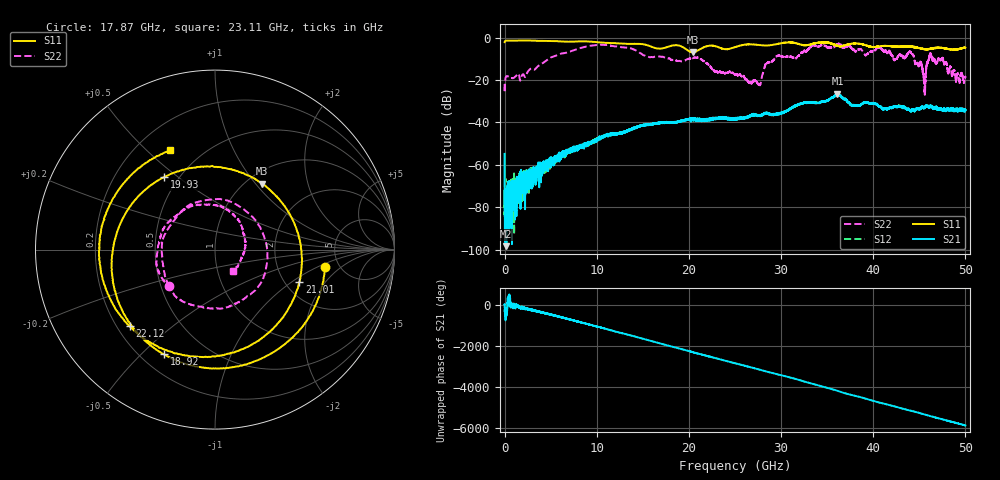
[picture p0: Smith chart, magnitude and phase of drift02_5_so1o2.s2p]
!Created with skrf (http://scikit-rf.org).
# Hz S RI R 50.0
!freq ReS11 ImS11 ReS21 ImS21 ReS12 ImS12 ReS22 ImS22
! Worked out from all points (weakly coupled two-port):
!   10001 points, 300 kHz to 50 GHz, reference 50 ohm
!   highest |S21| = -26.39 dB at 36.12 GHz (marker M1); lowest = -98.3 dB at 190.3 MHz (marker M2)
!   lowest |S11| = -6.9 dB at 20.43 GHz (marker M3), VSWR 2.64, Z = 58.7 + j53.9 ohm
!   |S11| at or under -10 dB: nowhere
!   |S22| runs from -27.0 to -2.8 dB; largest |S21 - S12| = 0.0048
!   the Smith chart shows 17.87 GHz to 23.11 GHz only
!   S11 on the Smith chart (normalised r, x): 17.87 GHz: 3.87, -1.22; 18.92 GHz: 0.29, -0.59; 19.93 GHz: 0.42, +0.45; 21.01 GHz: 2.38, -1.15; 22.12 GHz: 0.25, -0.36; 23.11 GHz: 0.34, +0.59
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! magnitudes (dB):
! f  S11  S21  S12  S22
! 300 kHz  -2.1  -54.8  -57.2  -21.9
! 190.3 MHz  -1.4  -98.3  -73.1  -18.3
! 8.335 GHz  -1.7  -51.0  -51.3  -4.8
! 16.67 GHz  -5.2  -40.4  -40.3  -8.9
! 17.87 GHz  -4.1  -40.0  -40.1  -9.8
! 18.92 GHz  -3.7  -39.6  -39.6  -11.0
! 19.93 GHz  -6.1  -38.7  -38.5  -10.0
! 20.43 GHz  -6.9  -38.6  -38.3  -9.7
! 21.01 GHz  -6.0  -38.8  -38.6  -9.5
! 22.12 GHz  -3.9  -38.9  -38.7  -12.7
! 23.11 GHz  -4.3  -38.1  -38.0  -16.2
! 25 GHz  -4.5  -38.6  -38.4  -17.3
! 27.6 GHz  -3.5  -36.7  -36.6  -22.2
! 28.5 GHz  -3.7  -35.7  -35.6  -11.9
! 33.34 GHz  -3.0  -30.6  -30.5  -3.8
! 36.12 GHz  -3.9  -26.4  -26.9  -3.3
! 41.67 GHz  -4.0  -33.2  -33.4  -6.5
! 42.39 GHz  -4.2  -32.8  -32.5  -10.4
! 44.12 GHz  -4.2  -34.6  -34.6  -7.3
! 45.5 GHz  -5.4  -32.6  -32.8  -20.6
! 46.25 GHz  -5.3  -32.1  -32.3  -8.0
! 50 GHz  -4.7  -34.2  -34.2  -18.7
